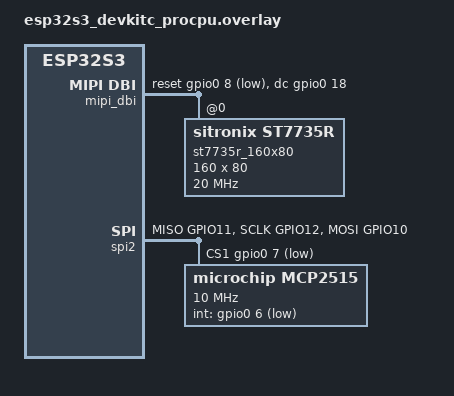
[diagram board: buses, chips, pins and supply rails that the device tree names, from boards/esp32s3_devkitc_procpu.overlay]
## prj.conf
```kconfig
# ---------- Core / console ----------
CONFIG_SERIAL=y
CONFIG_CONSOLE=y
CONFIG_UART_CONSOLE=y
CONFIG_PRINTK=y

# Keep logging off to reduce size and avoid early boot overhead
CONFIG_LOG=n

CONFIG_MAIN_STACK_SIZE=4096

# ---------- Drivers ----------
CONFIG_GPIO=y
CONFIG_SPI=y

# ---------- Display + LVGL ----------
CONFIG_DISPLAY=y
CONFIG_LVGL=y
CONFIG_LV_CONF_MINIMAL=y
CONFIG_LV_USE_LABEL=y

# Enough pool for simple labels
CONFIG_LV_Z_MEM_POOL_SIZE=8192

# For ST7735 common configs
CONFIG_LV_Z_BITS_PER_PIXEL=16
CONFIG_LV_COLOR_16_SWAP=y

# ---------- CAN (MCP2515) ----------
CONFIG_CAN=y
CONFIG_CAN_MCP2515=y
```

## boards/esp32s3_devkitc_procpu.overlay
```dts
#include <zephyr/dt-bindings/mipi_dbi/mipi_dbi.h>

/ {
    chosen {
        zephyr,display = &st7735r_160x80;
    };

    aliases {
        can0 = &mcp2515;
    };

    mipi_dbi {
        compatible = "zephyr,mipi-dbi-spi";
        spi-dev = <&spi2>;
        dc-gpios = <&gpio0 18 GPIO_ACTIVE_HIGH>;
        reset-gpios = <&gpio0 8 GPIO_ACTIVE_LOW>;
        #address-cells = <1>;
        #size-cells = <0>;

        st7735r_160x80: st7735r@0 {
            compatible = "sitronix,st7735r";
            reg = <0>; /* CS index 0 -> cs-gpios[0] (GPIO9) */

            mipi-max-frequency = <20000000>;
            /* Zephyr 4.3 expects a string enum value */
            mipi-mode = "MIPI_DBI_MODE_SPI_4WIRE";

            width = <160>;
            height = <80>;
            inversion-on;
            rgb-is-inverted;
            x-offset = <1>;
            y-offset = <26>;

            pwctr1 = [A2 02 84];
            pwctr2 = [C5];
            pwctr3 = [0A 00];
            pwctr4 = [8A 2A];
            pwctr5 = [8A EE];
            invctr = <7>;
            frmctr1 = [01 2C 2D];
            frmctr2 = [01 2C 2D];
            frmctr3 = [01 2C 2D 01 2C 2D];
            vmctr1 = <14>;
            gamctrp1 = [02 1C 07 12 37 32 29 2D 29 25 2B 39 00 01 03 10];
            gamctrn1 = [03 1D 07 06 2E 2C 29 2D 2E 2E 37 3F 00 00 02 10];
            colmod = <5>;
            madctl = <184>;
            caset = [00 01 00 a0];
            raset = [00 1a 00 69];
        };
    };
};

&spi2 {
    status = "okay";
    pinctrl-0 = <&spi2_custom_pins>;
    pinctrl-names = "default";

    /* Two chip selects on same SPI bus:
     *  CS0 = GPIO9  (Display)
     *  CS1 = GPIO7  (MCP2515)
     */
    cs-gpios = <&gpio0 9 GPIO_ACTIVE_LOW>,
               <&gpio0 7 GPIO_ACTIVE_LOW>;

    mcp2515: mcp2515@1 {
        compatible = "microchip,mcp2515";
        reg = <1>; /* CS index 1 -> cs-gpios[1] (GPIO7) */
        spi-max-frequency = <10000000>;
        int-gpios = <&gpio0 6 GPIO_ACTIVE_LOW>;
        osc-freq = <8000000>;
        bus-speed = <500000>;
        status = "okay";
    };
};

&pinctrl {
    spi2_custom_pins: spi2_custom_pins {
        group1 {
            /* We use cs-gpios, so do NOT add SPIM2_CSEL_GPIO9 here */
            pinmux = <SPIM2_MISO_GPIO11>,
                     <SPIM2_SCLK_GPIO12>;
        };
        group2 {
            pinmux = <SPIM2_MOSI_GPIO10>;
            output-low;
        };
    };
};
```

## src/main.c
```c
#include <zephyr/kernel.h>
#include <zephyr/device.h>
#include <zephyr/devicetree.h>
#include <zephyr/sys/printk.h>

#include <zephyr/drivers/can.h>
#include <zephyr/drivers/display.h>

#include <lvgl.h>
#include <stdio.h>
#include <string.h>

/* Queue for frames coming from CAN driver */
K_MSGQ_DEFINE(can_msgq, sizeof(struct can_frame), 64, 4);

/* Shared latest frame info (protected by a mutex) */
static struct can_frame latest_frame;
static bool latest_valid;
static struct k_mutex latest_lock;

static volatile uint32_t rx_count;

static lv_obj_t *title_label;
static lv_obj_t *frame_label;
static lv_obj_t *stats_label;

static void format_can_frame(char *out, size_t out_sz, const struct can_frame *f)
{
    int n = snprintf(out, out_sz, "ID:0x%03X DLC:%d", f->id, f->dlc);
    n += snprintf(out + n, out_sz - (size_t)n, "\nDATA:");
    for (int i = 0; i < f->dlc && (size_t)n < out_sz; i++)
    {
        n += snprintf(out + n, out_sz - (size_t)n, " %02X", f->data[i]);
    }
}

/* -------- Thread 1: CAN RX processing (high priority) -------- */
#define CAN_RX_STACK 2048
K_THREAD_STACK_DEFINE(can_rx_stack, CAN_RX_STACK);
static struct k_thread can_rx_thread;

static void can_rx_worker(void *a, void *b, void *c)
{
    ARG_UNUSED(a);
    ARG_UNUSED(b);
    ARG_UNUSED(c);

    printk("CAN RX thread started\n");

    while (1)
    {
        struct can_frame f;

        /* Block until a frame arrives */
        if (k_msgq_get(&can_msgq, &f, K_FOREVER) == 0)
        {
            rx_count++;

            /* Keep the latest frame for UI */
            k_mutex_lock(&latest_lock, K_FOREVER);
            latest_frame = f;
            latest_valid = true;
            k_mutex_unlock(&latest_lock);

            /* Also print to UART for debugging */
            printk("RX id=0x%X dlc=%d\n", f.id, f.dlc);
        }
    }
}

/* -------- Thread 2: UI/LVGL (low priority) -------- */
#define UI_STACK 4096
K_THREAD_STACK_DEFINE(ui_stack, UI_STACK);
static struct k_thread ui_thread;

static void ui_worker(void *a, void *b, void *c)
{
    ARG_UNUSED(a);
    ARG_UNUSED(b);
    ARG_UNUSED(c);

    const struct device *display = DEVICE_DT_GET(DT_CHOSEN(zephyr_display));
    if (!device_is_ready(display))
    {
        printk("ERROR: display not ready\n");
        return;
    }

    /* Give drivers a moment (helps on some boards) */
    k_msleep(200);

    title_label = lv_label_create(lv_scr_act());
    lv_label_set_text(title_label, "Zephyr CAN Logger");
    lv_obj_align(title_label, LV_ALIGN_TOP_MID, 0, 2);

    frame_label = lv_label_create(lv_scr_act());
    lv_label_set_text(frame_label, "Waiting for CAN frames...");
    lv_obj_align(frame_label, LV_ALIGN_CENTER, 0, 0);
    lv_obj_set_width(frame_label, 155);
    lv_label_set_long_mode(frame_label, LV_LABEL_LONG_WRAP);

    stats_label = lv_label_create(lv_scr_act());
    lv_label_set_text(stats_label, "RX:0 FPS:0");
    lv_obj_align(stats_label, LV_ALIGN_BOTTOM_MID, 0, 0);

    display_blanking_off(display);

    uint32_t last_ms = k_uptime_get_32();
    uint32_t last_rx = 0;

    while (1)
    {
        /* Update frame label if we have something */
        struct can_frame f;
        bool valid = false;

        k_mutex_lock(&latest_lock, K_FOREVER);
        if (latest_valid)
        {
            f = latest_frame;
            valid = true;
        }
        k_mutex_unlock(&latest_lock);

        if (valid)
        {
            char line[128];
            format_can_frame(line, sizeof(line), &f);
            lv_label_set_text(frame_label, line);
        }

        uint32_t now = k_uptime_get_32();
        if (now - last_ms >= 1000U)
        {
            uint32_t fps = rx_count - last_rx;
            last_rx = rx_count;
            last_ms = now;

            char s[64];
            snprintf(s, sizeof(s), "RX:%u FPS:%u", (unsigned)rx_count, (unsigned)fps);
            lv_label_set_text(stats_label, s);
        }

        lv_timer_handler();
        k_msleep(100);
    }
}

int main(void)
{
    printk("BOOT: app started\n");

    k_mutex_init(&latest_lock);

    const struct device *can_dev = DEVICE_DT_GET(DT_ALIAS(can0));
    if (!device_is_ready(can_dev))
    {
        printk("ERROR: CAN device not ready (DT_ALIAS(can0))\n");
        return 0;
    }

    int err = can_start(can_dev);
    if (err)
    {
        printk("ERROR: can_start failed (%d)\n", err);
        return 0;
    }

    /* Accept all frames (Zephyr 4.3: no CAN_FILTER_DATA) */
    struct can_filter filter = {
        .flags = 0,
        .id = 0,
        .mask = 0,
    };

    int fid = can_add_rx_filter_msgq(can_dev, &can_msgq, &filter);
    if (fid < 0)
    {
        printk("ERROR: can_add_rx_filter_msgq failed (%d)\n", fid);
        return 0;
    }

    printk("CAN started, filter installed id=%d\n", fid);

    /* Start threads */
    k_thread_create(&can_rx_thread, can_rx_stack, CAN_RX_STACK,
                    can_rx_worker, NULL, NULL, NULL,
                    2 /* high prio */, 0, K_NO_WAIT);

    k_thread_create(&ui_thread, ui_stack, UI_STACK,
                    ui_worker, NULL, NULL, NULL,
                    7 /* low prio */, 0, K_NO_WAIT);

    /* main can idle */
    while (1)
    {
        k_sleep(K_SECONDS(5));
    }

    return 0;
}
```
